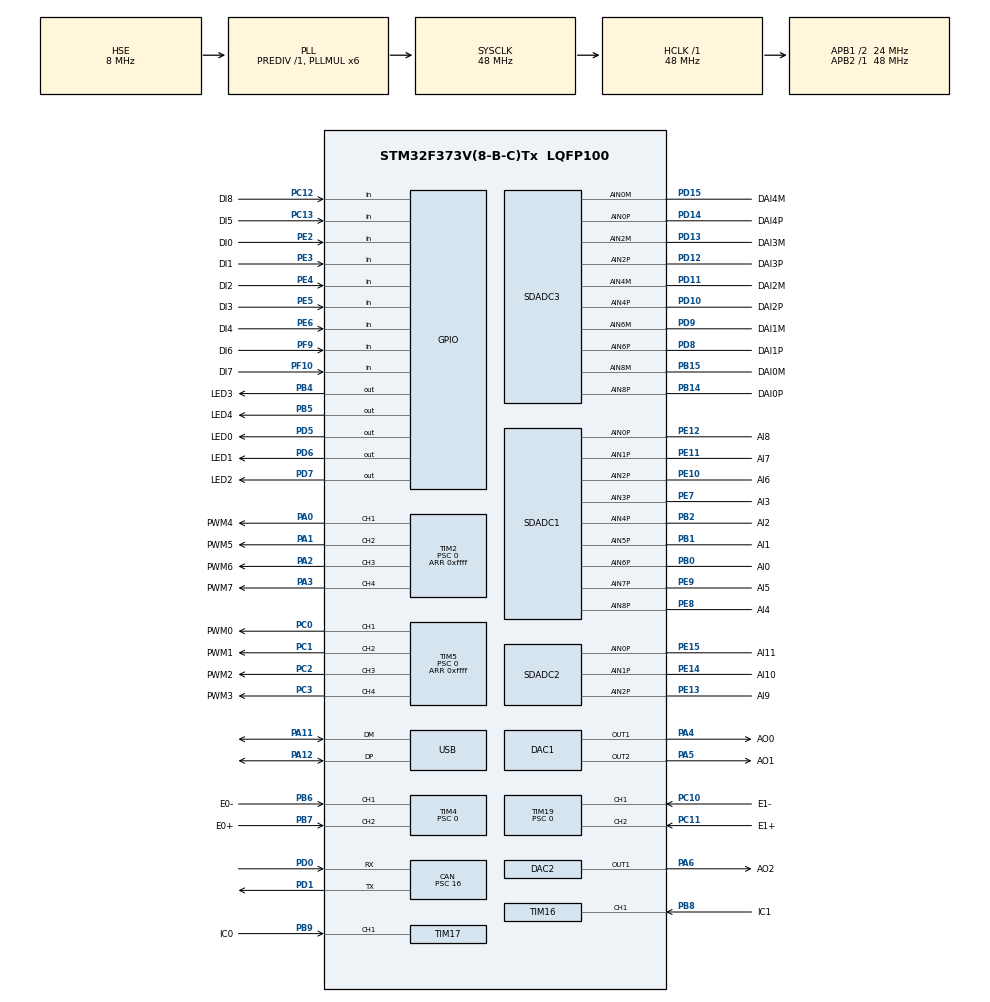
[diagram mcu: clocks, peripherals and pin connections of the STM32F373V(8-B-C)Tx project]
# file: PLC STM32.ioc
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CAN.BS1=CAN_BS1_3TQ
CAN.BS2=CAN_BS2_2TQ
CAN.CalculateBaudRate=250000
CAN.CalculateTimeBit=4000
CAN.CalculateTimeQuantum=666.6666666666666
CAN.Mode=CAN_MODE_NORMAL
CAN.Prescaler=16
CAN.SJW=CAN_SJW_1TQ
DAC1.DAC_OutputBuffer=DAC_OUTPUTBUFFER_ENABLE
DAC1.DAC_OutputBuffer2=DAC_OUTPUTBUFFER_ENABLE
DAC1.DAC_Trigger=DAC_TRIGGER_T6_TRGO
DAC1.DAC_Trigger2=DAC_TRIGGER_T6_TRGO
DAC2.DAC_OutputBuffer=DAC_OUTPUTBUFFER_ENABLE
DAC2.DAC_Trigger=DAC_TRIGGER_T6_TRGO
Dma.Request0=TIM17_CH1/UP
Dma.Request1=TIM16_CH1/UP
Dma.Request2=SDADC1
Dma.Request3=SDADC2
Dma.Request4=SDADC3
Dma.SDADC1.2.Direction=DMA_PERIPH_TO_MEMORY
Dma.SDADC1.2.Instance=DMA2_Channel3
Dma.SDADC1.2.MemDataAlignment=DMA_MDATAALIGN_HALFWORD
Dma.SDADC1.2.MemInc=DMA_MINC_ENABLE
Dma.SDADC1.2.Mode=DMA_CIRCULAR
Dma.SDADC1.2.PeriphDataAlignment=DMA_PDATAALIGN_HALFWORD
Dma.SDADC1.2.PeriphInc=DMA_PINC_DISABLE
Dma.SDADC1.2.Priority=DMA_PRIORITY_LOW
Dma.SDADC2.3.Direction=DMA_PERIPH_TO_MEMORY
Dma.SDADC2.3.Instance=DMA2_Channel4
Dma.SDADC2.3.MemDataAlignment=DMA_MDATAALIGN_HALFWORD
Dma.SDADC2.3.MemInc=DMA_MINC_ENABLE
Dma.SDADC2.3.Mode=DMA_CIRCULAR
Dma.SDADC2.3.PeriphDataAlignment=DMA_PDATAALIGN_HALFWORD
Dma.SDADC2.3.PeriphInc=DMA_PINC_DISABLE
Dma.SDADC2.3.Priority=DMA_PRIORITY_LOW
Dma.SDADC3.4.Direction=DMA_PERIPH_TO_MEMORY
Dma.SDADC3.4.Instance=DMA2_Channel5
Dma.SDADC3.4.MemDataAlignment=DMA_MDATAALIGN_HALFWORD
Dma.SDADC3.4.MemInc=DMA_MINC_ENABLE
Dma.SDADC3.4.Mode=DMA_CIRCULAR
Dma.SDADC3.4.PeriphDataAlignment=DMA_PDATAALIGN_HALFWORD
Dma.SDADC3.4.PeriphInc=DMA_PINC_DISABLE
Dma.SDADC3.4.Priority=DMA_PRIORITY_LOW
Dma.TIM16_CH1/UP.1.Direction=DMA_PERIPH_TO_MEMORY
Dma.TIM16_CH1/UP.1.Instance=DMA1_Channel3
Dma.TIM16_CH1/UP.1.MemDataAlignment=DMA_MDATAALIGN_HALFWORD
Dma.TIM16_CH1/UP.1.MemInc=DMA_MINC_ENABLE
Dma.TIM16_CH1/UP.1.Mode=DMA_CIRCULAR
Dma.TIM16_CH1/UP.1.PeriphDataAlignment=DMA_PDATAALIGN_HALFWORD
Dma.TIM16_CH1/UP.1.PeriphInc=DMA_PINC_DISABLE
Dma.TIM16_CH1/UP.1.Priority=DMA_PRIORITY_LOW
Dma.TIM17_CH1/UP.0.Direction=DMA_PERIPH_TO_MEMORY
Dma.TIM17_CH1/UP.0.Instance=DMA1_Channel1
Dma.TIM17_CH1/UP.0.MemDataAlignment=DMA_MDATAALIGN_HALFWORD
Dma.TIM17_CH1/UP.0.MemInc=DMA_MINC_ENABLE
Dma.TIM17_CH1/UP.0.Mode=DMA_CIRCULAR
Dma.TIM17_CH1/UP.0.PeriphDataAlignment=DMA_PDATAALIGN_HALFWORD
Dma.TIM17_CH1/UP.0.PeriphInc=DMA_PINC_DISABLE
Dma.TIM17_CH1/UP.0.Priority=DMA_PRIORITY_LOW
Mcu.Family=STM32F3
Mcu.Name=STM32F373V(8-B-C)Tx
Mcu.Package=LQFP100
NVIC.CAN_RX0_IRQn=true\:0\:0\:true\:false\:true\:true\:true\:true
NVIC.DMA1_Channel1_IRQn=true\:0\:0\:false\:false\:true\:false\:true\:true
NVIC.DMA1_Channel3_IRQn=true\:0\:0\:false\:false\:true\:false\:true\:true
NVIC.DMA2_Channel3_IRQn=true\:0\:0\:false\:false\:true\:false\:true\:true
NVIC.DMA2_Channel4_IRQn=true\:0\:0\:false\:false\:true\:false\:true\:true
NVIC.DMA2_Channel5_IRQn=true\:0\:0\:false\:false\:true\:false\:true\:true
NVIC.PriorityGroup=NVIC_PRIORITYGROUP_4
NVIC.TIM7_IRQn=true\:15\:0\:false\:false\:true\:false\:true\:true
NVIC.TimeBase=TIM7_IRQn
NVIC.TimeBaseIP=TIM7
NVIC.USB_LP_IRQn=true\:0\:0\:true\:false\:true\:false\:true\:true
PA0.GPIO_Label=PWM4
PA0.Signal=S_TIM2_CH1_ETR
PA1.GPIO_Label=PWM5
PA1.Signal=S_TIM2_CH2
PA11.Mode=Device
PA11.Signal=USB_DM
PA12.Mode=Device
PA12.Signal=USB_DP
PA13.Mode=Trace_Asynchronous_SW
PA13.Signal=SYS_JTMS-SWDIO
PA14.Mode=Trace_Asynchronous_SW
PA14.Signal=SYS_JTCK-SWCLK
PA2.GPIO_Label=PWM6
PA2.Signal=S_TIM2_CH3
PA3.GPIO_Label=PWM7
PA3.Signal=S_TIM2_CH4
PA4.GPIO_Label=AO0
PA4.Signal=COMP_DAC11_group
PA5.GPIO_Label=AO1
PA5.Signal=COMP_DAC12_group
PA6.GPIO_Label=AO2
PA6.Signal=COMP_DAC21_group
PB0.GPIO_Label=AI0
PB0.Mode=IN6-Single-Ended zero reference
PB0.Signal=SDADC1_AIN6P
PB1.GPIO_Label=AI1
PB1.Mode=IN5-Single-Ended zero reference
PB1.Signal=SDADC1_AIN5P
PB14.GPIO_Label=DAI0P
PB14.Mode=IN8-Differential
PB14.Signal=SDADC3_AIN8P
PB15.GPIO_Label=DAI0M
PB15.Mode=IN8-Differential
PB15.Signal=SDADC3_AIN8M
PB2.GPIO_Label=AI2
PB2.Mode=IN4-Single-Ended zero reference
PB2.Signal=SDADC1_AIN4P
PB3.Mode=Trace_Asynchronous_SW
PB3.Signal=SYS_JTDO-TRACESWO
PB4.GPIO_Label=LED3
PB4.Signal=GPIO_Output
PB5.GPIO_Label=LED4
PB5.Signal=GPIO_Output
PB6.GPIO_Label=E0-
PB6.Signal=S_TIM4_CH1
PB7.GPIO_Label=E0+
PB7.Signal=S_TIM4_CH2
PB8.GPIO_Label=IC1
PB8.Signal=S_TIM16_CH1
PB9.GPIO_Label=IC0
PB9.Signal=S_TIM17_CH1
PC0.GPIO_Label=PWM0
PC0.Signal=S_TIM5_CH1_ETR
PC1.GPIO_Label=PWM1
PC1.Signal=S_TIM5_CH2
PC10.GPIO_Label=E1-
PC10.Signal=S_TIM19_CH1
PC11.GPIO_Label=E1+
PC11.Signal=S_TIM19_CH2
PC12.GPIO_Label=DI8
PC12.GPIO_PuPd=GPIO_PULLDOWN
PC12.Signal=GPIO_Input
PC13.GPIO_Label=DI5
PC13.GPIO_PuPd=GPIO_PULLDOWN
PC13.Signal=GPIO_Input
PC2.GPIO_Label=PWM2
PC2.Signal=S_TIM5_CH3
PC3.GPIO_Label=PWM3
PC3.Signal=S_TIM5_CH4
PD0.Mode=CAN_Activate
PD0.Signal=CAN_RX
PD1.Mode=CAN_Activate
PD1.Signal=CAN_TX
PD10.GPIO_Label=DAI2P
PD10.Mode=IN4-Differential
PD10.Signal=SDADC3_AIN4P
PD11.GPIO_Label=DAI2M
PD11.Mode=IN4-Differential
PD11.Signal=SDADC3_AIN4M
PD12.GPIO_Label=DAI3P
PD12.Mode=IN2-Differential
PD12.Signal=SDADC3_AIN2P
PD13.GPIO_Label=DAI3M
PD13.Mode=IN2-Differential
PD13.Signal=SDADC3_AIN2M
PD14.GPIO_Label=DAI4P
PD14.Mode=IN0-Differential
PD14.Signal=SDADC3_AIN0P
PD15.GPIO_Label=DAI4M
PD15.Mode=IN0-Differential
PD15.Signal=SDADC3_AIN0M
PD5.GPIO_Label=LED0
PD5.Signal=GPIO_Output
PD6.GPIO_Label=LED1
PD6.Signal=GPIO_Output
PD7.GPIO_Label=LED2
PD7.Signal=GPIO_Output
PD8.GPIO_Label=DAI1P
PD8.Mode=IN6-Differential
PD8.Signal=SDADC3_AIN6P
PD9.GPIO_Label=DAI1M
PD9.Mode=IN6-Differential
PD9.Signal=SDADC3_AIN6M
PE10.GPIO_Label=AI6
PE10.Mode=IN2-Single-Ended zero reference
PE10.Signal=SDADC1_AIN2P
PE11.GPIO_Label=AI7
PE11.Mode=IN1-Single-Ended zero reference
PE11.Signal=SDADC1_AIN1P
PE12.GPIO_Label=AI8
PE12.Mode=IN0-Single-Ended zero reference
PE12.Signal=SDADC1_AIN0P
PE13.GPIO_Label=AI9
PE13.Mode=IN2-Single-Ended zero reference
PE13.Signal=SDADC2_AIN2P
PE14.GPIO_Label=AI10
PE14.Mode=IN1-Single-Ended zero reference
PE14.Signal=SDADC2_AIN1P
PE15.GPIO_Label=AI11
PE15.Mode=IN0-Single-Ended zero reference
PE15.Signal=SDADC2_AIN0P
PE2.GPIO_Label=DI0
PE2.GPIO_PuPd=GPIO_PULLDOWN
PE2.Signal=GPIO_Input
PE3.GPIO_Label=DI1
PE3.GPIO_PuPd=GPIO_PULLDOWN
PE3.Signal=GPIO_Input
PE4.GPIO_Label=DI2
PE4.GPIO_PuPd=GPIO_PULLDOWN
PE4.Signal=GPIO_Input
PE5.GPIO_Label=DI3
PE5.GPIO_PuPd=GPIO_PULLDOWN
PE5.Signal=GPIO_Input
PE6.GPIO_Label=DI4
PE6.GPIO_PuPd=GPIO_PULLDOWN
PE6.Signal=GPIO_Input
PE7.GPIO_Label=AI3
PE7.Mode=IN3-Single-Ended zero reference
PE7.Signal=SDADC1_AIN3P
PE8.GPIO_Label=AI4
PE8.Mode=IN8-Single-Ended zero reference
PE8.Signal=SDADC1_AIN8P
PE9.GPIO_Label=AI5
PE9.Mode=IN7-Single-Ended zero reference
PE9.Signal=SDADC1_AIN7P
PF0-OSC_IN.Mode=HSE-External-Oscillator
PF0-OSC_IN.Signal=RCC_OSC_IN
PF1-OSC_OUT.Mode=HSE-External-Oscillator
PF1-OSC_OUT.Signal=RCC_OSC_OUT
PF10.GPIO_Label=DI7
PF10.GPIO_PuPd=GPIO_PULLDOWN
PF10.Signal=GPIO_Input
PF9.GPIO_Label=DI6
PF9.GPIO_PuPd=GPIO_PULLDOWN
PF9.Signal=GPIO_Input
ProjectManager.HeapSize=0x200
ProjectManager.StackSize=0x400
ProjectManager.TargetToolchain=STM32CubeIDE
RCC.AHBFreq_Value=48000000
RCC.APB1CLKDivider=RCC_HCLK_DIV2
RCC.APB1Freq_Value=24000000
RCC.APB1TimFreq_Value=48000000
RCC.APB2Freq_Value=48000000
RCC.APB2TimFreq_Value=48000000
RCC.CortexFreq_Value=48000000
RCC.HCLKFreq_Value=48000000
RCC.HSE_Timout=100
RCC.HSE_VALUE=8000000
RCC.HSI_VALUE=8000000
RCC.LSE_Timout=10000
RCC.LSE_VALUE=32768
RCC.PLLMUL=RCC_PLL_MUL6
RCC.SDADCPresc=RCC_SDADCSYSCLK_DIV8
RCC.SYSCLKFreq_VALUE=48000000
RCC.SYSCLKSource=RCC_SYSCLKSOURCE_PLLCLK
RCC.USBFreq_Value=48000000
SDADC1.CommonMode0=SDADC_COMMON_MODE_VSSA
SDADC1.EnableInjectedConversion=ENABLE
SDADC1.EnableRegularconversion=DISABLE
SDADC1.Gain1=SDADC_GAIN_1
SDADC1.Gain2=SDADC_GAIN_1
SDADC1.InjDelay=Disable
SDADC1.InjNumberOfConversion=9
SDADC1.InjectedChannel-11\#ChannelInjectedConversion=SDADC_CHANNEL_0
SDADC1.InjectedChannel-20\#ChannelInjectedConversion=SDADC_CHANNEL_1
SDADC1.InjectedChannel-21\#ChannelInjectedConversion=SDADC_CHANNEL_2
SDADC1.InjectedChannel-22\#ChannelInjectedConversion=SDADC_CHANNEL_3
SDADC1.InjectedChannel-23\#ChannelInjectedConversion=SDADC_CHANNEL_4
SDADC1.InjectedChannel-24\#ChannelInjectedConversion=SDADC_CHANNEL_5
SDADC1.InjectedChannel-25\#ChannelInjectedConversion=SDADC_CHANNEL_6
SDADC1.InjectedChannel-26\#ChannelInjectedConversion=SDADC_CHANNEL_7
SDADC1.InjectedChannel-27\#ChannelInjectedConversion=SDADC_CHANNEL_8
SDADC1.InjectedChannelsSelection=SDADC_CHANNEL_0|SDADC_CHANNEL_1|SDADC_CHANNEL_2|SDADC_CHANNEL_3|SDADC_CHANNEL_4|SDADC_CHANNEL_5|SDADC_CHANNEL_6|SDADC_CHANNEL_7|SDADC_CHANNEL_8
SDADC1.InjectedConfIndex-11\#ChannelInjectedConversion=SDADC_CONF_INDEX_2
SDADC1.InjectedConfIndex-20\#ChannelInjectedConversion=SDADC_CONF_INDEX_2
SDADC1.InjectedConfIndex-21\#ChannelInjectedConversion=SDADC_CONF_INDEX_2
SDADC1.InjectedConfIndex-22\#ChannelInjectedConversion=SDADC_CONF_INDEX_1
SDADC1.InjectedConfIndex-23\#ChannelInjectedConversion=SDADC_CONF_INDEX_0
SDADC1.InjectedConfIndex-24\#ChannelInjectedConversion=SDADC_CONF_INDEX_0
SDADC1.InjectedConfIndex-25\#ChannelInjectedConversion=SDADC_CONF_INDEX_0
SDADC1.InjectedConfIndex-26\#ChannelInjectedConversion=SDADC_CONF_INDEX_1
SDADC1.InjectedConfIndex-27\#ChannelInjectedConversion=SDADC_CONF_INDEX_1
SDADC1.InjectedContinuousMode=SDADC_CONTINUOUS_CONV_ON
SDADC1.InjectedRank-11\#ChannelInjectedConversion=1
SDADC1.InjectedRank-20\#ChannelInjectedConversion=2
SDADC1.InjectedRank-21\#ChannelInjectedConversion=3
SDADC1.InjectedRank-22\#ChannelInjectedConversion=4
SDADC1.InjectedRank-23\#ChannelInjectedConversion=5
SDADC1.InjectedRank-24\#ChannelInjectedConversion=6
SDADC1.InjectedRank-25\#ChannelInjectedConversion=7
SDADC1.InjectedRank-26\#ChannelInjectedConversion=8
SDADC1.InjectedRank-27\#ChannelInjectedConversion=9
SDADC1.InjectedTrigger=SDADC_EXTERNAL_TRIGGER
SDADC1.InputMode0=SDADC_INPUT_MODE_SE_ZERO_REFERENCE
SDADC1.InputMode1=SDADC_INPUT_MODE_SE_ZERO_REFERENCE
SDADC1.InputMode2=SDADC_INPUT_MODE_SE_ZERO_REFERENCE
SDADC1.NbrOfConversionFlag=1
SDADC2.EnableInjectedConversion=ENABLE
SDADC2.EnableRegularconversion=DISABLE
SDADC2.InjDelay=Disable
SDADC2.InjNumberOfConversion=3
SDADC2.InjectedChannel-0\#ChannelInjectedConversion=SDADC_CHANNEL_0
SDADC2.InjectedChannel-3\#ChannelInjectedConversion=SDADC_CHANNEL_1
SDADC2.InjectedChannel-4\#ChannelInjectedConversion=SDADC_CHANNEL_2
SDADC2.InjectedChannelsSelection=SDADC_CHANNEL_0|SDADC_CHANNEL_1|SDADC_CHANNEL_2
SDADC2.InjectedConfIndex-0\#ChannelInjectedConversion=SDADC_CONF_INDEX_2
SDADC2.InjectedConfIndex-3\#ChannelInjectedConversion=SDADC_CONF_INDEX_1
SDADC2.InjectedConfIndex-4\#ChannelInjectedConversion=SDADC_CONF_INDEX_0
SDADC2.InjectedContinuousMode=SDADC_CONTINUOUS_CONV_ON
SDADC2.InjectedExtTrigger=SDADC_EXT_TRIG_TIM12_CC1
SDADC2.InjectedRank-0\#ChannelInjectedConversion=1
SDADC2.InjectedRank-3\#ChannelInjectedConversion=2
SDADC2.InjectedRank-4\#ChannelInjectedConversion=3
SDADC2.InjectedTrigger=SDADC_EXTERNAL_TRIGGER
SDADC2.InputMode0=SDADC_INPUT_MODE_SE_ZERO_REFERENCE
SDADC2.InputMode1=SDADC_INPUT_MODE_SE_ZERO_REFERENCE
SDADC2.InputMode2=SDADC_INPUT_MODE_SE_ZERO_REFERENCE
SDADC2.NbrOfConversionFlag=1
SDADC3.EnableInjectedConversion=ENABLE
SDADC3.EnableRegularconversion=DISABLE
SDADC3.InjDelay=Disable
SDADC3.InjNumberOfConversion=5
SDADC3.InjectedChannel-0\#ChannelInjectedConversion=SDADC_CHANNEL_0
SDADC3.InjectedChannel-5\#ChannelInjectedConversion=SDADC_CHANNEL_2
SDADC3.InjectedChannel-6\#ChannelInjectedConversion=SDADC_CHANNEL_4
SDADC3.InjectedChannel-7\#ChannelInjectedConversion=SDADC_CHANNEL_6
SDADC3.InjectedChannel-8\#ChannelInjectedConversion=SDADC_CHANNEL_8
SDADC3.InjectedChannelsSelection=SDADC_CHANNEL_0|SDADC_CHANNEL_2|SDADC_CHANNEL_4|SDADC_CHANNEL_6|SDADC_CHANNEL_8
SDADC3.InjectedConfIndex-0\#ChannelInjectedConversion=SDADC_CONF_INDEX_2
SDADC3.InjectedConfIndex-5\#ChannelInjectedConversion=SDADC_CONF_INDEX_1
SDADC3.InjectedConfIndex-6\#ChannelInjectedConversion=SDADC_CONF_INDEX_1
SDADC3.InjectedConfIndex-7\#ChannelInjectedConversion=SDADC_CONF_INDEX_0
SDADC3.InjectedConfIndex-8\#ChannelInjectedConversion=SDADC_CONF_INDEX_0
SDADC3.InjectedContinuousMode=SDADC_CONTINUOUS_CONV_ON
SDADC3.InjectedExtTrigger=SDADC_EXT_TRIG_TIM12_CC2
SDADC3.InjectedRank-0\#ChannelInjectedConversion=1
SDADC3.InjectedRank-5\#ChannelInjectedConversion=2
SDADC3.InjectedRank-6\#ChannelInjectedConversion=3
SDADC3.InjectedRank-7\#ChannelInjectedConversion=4
SDADC3.InjectedRank-8\#ChannelInjectedConversion=5
SDADC3.InjectedTrigger=SDADC_EXTERNAL_TRIGGER
SDADC3.NbrOfConversionFlag=1
SH.COMP_DAC11_group.0=DAC1_OUT1,DAC_OUT1
SH.COMP_DAC12_group.0=DAC1_OUT2,Enable_DAC_OUT2
SH.COMP_DAC21_group.0=DAC2_OUT1,DAC_OUT1
SH.S_TIM16_CH1.0=TIM16_CH1,Input_Capture1_from_TI1
SH.S_TIM17_CH1.0=TIM17_CH1,Input_Capture1_from_TI1
SH.S_TIM19_CH1.0=TIM19_CH1,Encoder_Interface
SH.S_TIM19_CH2.0=TIM19_CH2,Encoder_Interface
SH.S_TIM2_CH1_ETR.0=TIM2_CH1,PWM Generation1 CH1
SH.S_TIM2_CH2.0=TIM2_CH2,PWM Generation2 CH2
SH.S_TIM2_CH3.0=TIM2_CH3,PWM Generation3 CH3
SH.S_TIM2_CH4.0=TIM2_CH4,PWM Generation4 CH4
SH.S_TIM4_CH1.0=TIM4_CH1,Encoder_Interface
SH.S_TIM4_CH2.0=TIM4_CH2,Encoder_Interface
SH.S_TIM5_CH1_ETR.0=TIM5_CH1,PWM Generation1 CH1
SH.S_TIM5_CH2.0=TIM5_CH2,PWM Generation2 CH2
SH.S_TIM5_CH3.0=TIM5_CH3,PWM Generation3 CH3
SH.S_TIM5_CH4.0=TIM5_CH4,PWM Generation4 CH4
TIM12.Channel-Output\ Compare1\ No\ Output=TIM_CHANNEL_1
TIM12.Channel-Output\ Compare2\ No\ Output=TIM_CHANNEL_2
TIM12.OCMode_1=TIM_OCMODE_TOGGLE
TIM12.OCMode_2=TIM_OCMODE_TOGGLE
TIM12.Period=0xbb80
TIM12.Prescaler=99
TIM12.Pulse-Output\ Compare1\ No\ Output=0
TIM13.Channel=TIM_CHANNEL_1
TIM13.OCMode_1=TIM_OCMODE_TOGGLE
TIM13.Period=0xbb80
TIM13.Prescaler=99
TIM13.Pulse=0
TIM16.Channel=TIM_CHANNEL_1
TIM16.Period=0xffff
TIM16.Prescaler=4799
TIM17.Channel=TIM_CHANNEL_1
TIM17.Period=0xffff
TIM17.Prescaler=4799
TIM19.EncoderMode=TIM_ENCODERMODE_TI12
TIM19.Prescaler=0
TIM2.Channel-PWM\ Generation1\ CH1=TIM_CHANNEL_1
TIM2.Channel-PWM\ Generation2\ CH2=TIM_CHANNEL_2
TIM2.Channel-PWM\ Generation3\ CH3=TIM_CHANNEL_3
TIM2.Channel-PWM\ Generation4\ CH4=TIM_CHANNEL_4
TIM2.Period=0xffff
TIM2.Prescaler=0
TIM2.Pulse-PWM\ Generation4\ CH4=0
TIM4.EncoderMode=TIM_ENCODERMODE_TI12
TIM4.Prescaler=0
TIM5.Channel-PWM\ Generation1\ CH1=TIM_CHANNEL_1
TIM5.Channel-PWM\ Generation2\ CH2=TIM_CHANNEL_2
TIM5.Channel-PWM\ Generation3\ CH3=TIM_CHANNEL_3
TIM5.Channel-PWM\ Generation4\ CH4=TIM_CHANNEL_4
TIM5.Period=0xffff
TIM5.Prescaler=0
TIM5.Pulse-PWM\ Generation4\ CH4=0
TIM6.Period=0xbb80
TIM6.Prescaler=99
TIM6.TIM_MasterOutputTrigger=TIM_TRGO_UPDATE
USB_DEVICE.APP_RX_DATA_SIZE=1000
USB_DEVICE.APP_TX_DATA_SIZE=1000
USB_DEVICE.CLASS_NAME_FS=CDC
USB_DEVICE.PRODUCT_STRING_CDC_FS=STM32 Virtual ComPort
USB_DEVICE.USBD_SELF_POWERED=0
USB_DEVICE.VirtualMode=Cdc
USB_DEVICE.VirtualModeFS=Cdc_FS
VP_SDADC1_CONF0.Mode=ConfigZero
VP_SDADC1_CONF1.Mode=ConfigUn
VP_SDADC1_CONF2.Mode=ConfigDeux
VP_SDADC2_CONF0.Mode=ConfigZero
VP_SDADC2_CONF1.Mode=ConfigUn
VP_SDADC2_CONF2.Mode=ConfigDeux
VP_SDADC3_CONF0.Mode=ConfigZero
VP_SDADC3_CONF1.Mode=ConfigUn
VP_SDADC3_CONF2.Mode=ConfigDeux
VP_SYS_VS_tim7.Mode=TIM7
VP_TIM12_VS_ClockSourceINT.Mode=Internal
VP_TIM12_VS_no_output1.Mode=Output Compare1 No Output
VP_TIM12_VS_no_output2.Mode=Output Compare2 No Output
VP_TIM13_VS_ClockSourceINT.Mode=Enable_Timer
VP_TIM13_VS_no_output1.Mode=Output Compare1 No Output
VP_TIM16_VS_ClockSourceINT.Mode=Enable_Timer
VP_TIM17_VS_ClockSourceINT.Mode=Enable_Timer
VP_TIM2_VS_ClockSourceINT.Mode=Internal
VP_TIM5_VS_ClockSourceINT.Mode=Internal
VP_TIM6_VS_ClockSourceINT.Mode=Enable_Timer
VP_USB_DEVICE_VS_USB_DEVICE_CDC_FS.Mode=CDC_FS
board=custom

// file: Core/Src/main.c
/* USER CODE BEGIN Header */
/**
  ******************************************************************************
  * @file           : main.c
  * @brief          : Main program body
  ******************************************************************************
  * @attention
  *
  * <h2><center>&copy; Copyright (c) 2021 STMicroelectronics.
  * All rights reserved.</center></h2>
  *
  * This software component is licensed by ST under BSD 3-Clause license,
  * the "License"; You may not use this file except in compliance with the
  * License. You may obtain a copy of the License at:
  *                        opensource.org/licenses/BSD-3-Clause
  *
  ******************************************************************************
  */
/* USER CODE END Header */
#include "main.h"
#include "usb_device.h"

/* USER CODE BEGIN Includes */
#include "STM32 PLC/Functions.h"
/* USER CODE END Includes */

 CAN_HandleTypeDef hcan;

DAC_HandleTypeDef hdac1;
DAC_HandleTypeDef hdac2;

SDADC_HandleTypeDef hsdadc1;
SDADC_HandleTypeDef hsdadc2;
SDADC_HandleTypeDef hsdadc3;
DMA_HandleTypeDef hdma_sdadc1;
DMA_HandleTypeDef hdma_sdadc2;
DMA_HandleTypeDef hdma_sdadc3;

TIM_HandleTypeDef htim2;
TIM_HandleTypeDef htim4;
TIM_HandleTypeDef htim5;
TIM_HandleTypeDef htim6;
TIM_HandleTypeDef htim12;
TIM_HandleTypeDef htim13;
TIM_HandleTypeDef htim16;
TIM_HandleTypeDef htim17;
TIM_HandleTypeDef htim19;
DMA_HandleTypeDef hdma_tim16_ch1_up;
DMA_HandleTypeDef hdma_tim17_ch1_up;

void SystemClock_Config(void);
static void MX_GPIO_Init(void);
static void MX_DAC1_Init(void);
static void MX_DAC2_Init(void);
static void MX_TIM2_Init(void);
static void MX_TIM5_Init(void);
static void MX_TIM4_Init(void);
static void MX_SDADC1_Init(void);
static void MX_SDADC2_Init(void);
static void MX_SDADC3_Init(void);
static void MX_CAN_Init(void);
static void MX_TIM6_Init(void);
static void MX_TIM12_Init(void);
static void MX_TIM13_Init(void);
static void MX_TIM16_Init(void);
static void MX_TIM17_Init(void);
static void MX_DMA_Init(void);
static void MX_TIM19_Init(void);

int main(void)
{

  /* MCU Configuration--------------------------------------------------------*/

  /* Reset of all peripherals, Initializes the Flash interface and the Systick. */
  HAL_Init();

  /* Configure the system clock */
  SystemClock_Config();

  /* Initialize all configured peripherals */
  MX_GPIO_Init();
  MX_DMA_Init();
  MX_DAC1_Init();
  MX_DAC2_Init();
  MX_TIM2_Init();
  MX_TIM5_Init();
  MX_TIM4_Init();
  MX_SDADC1_Init();
  MX_SDADC2_Init();
  MX_SDADC3_Init();
  MX_CAN_Init();
  MX_TIM6_Init();
  MX_TIM12_Init();
  MX_TIM13_Init();
  MX_TIM16_Init();
  MX_USB_DEVICE_Init();
  MX_TIM17_Init();
  MX_TIM19_Init();
  /* USER CODE BEGIN 2 */

  /* NOTICE !!!  - MX_DMA_Init() need to be declared directly after MX_GPIO_Init() */

  /* Start */
  STM32_PLC_Analog_Input(&htim12, &htim13, &hsdadc1, &hsdadc2, &hsdadc3);
  STM32_PLC_Analog_Output(&hdac1, &hdac2, &htim6);
  STM32_PLC_Encoder(&htim4, &htim19);
  STM32_PLC_Input_Capture(&htim17, &htim16);
  STM32_PLC_PWM(&htim2, &htim5);
  STM32_PLC_CAN(&hcan);

  /* Reset outputs */
  STM32_PLC_PWM_Reset();
  STM32_PLC_Analog_Output_Reset();

  /* Set the gains for the ADC */
  uint8_t gain_for_configuration_index_0, gain_for_configuration_index_1, gain_for_configuration_index_2;
  STM32_PLC_Flash_Get_ADC_Gains_For_SDADC_1(&gain_for_configuration_index_0, &gain_for_configuration_index_1, &gain_for_configuration_index_2);
  STM32_PLC_Analog_Input_Set_Gain(1, SDADC_CONF_INDEX_0, gain_for_configuration_index_0, false);
  STM32_PLC_Analog_Input_Set_Gain(2, SDADC_CONF_INDEX_1, gain_for_configuration_index_1, false);
  STM32_PLC_Analog_Input_Set_Gain(3, SDADC_CONF_INDEX_2, gain_for_configuration_index_2, false);

  /* Set the prescalers for PWM */
  uint16_t prescaler_for_PWM_0_3, prescaler_for_PWM_4_7;
  STM32_PLC_Flash_Get_PWM_Prescalers(&prescaler_for_PWM_0_3, &prescaler_for_PWM_4_7);
  STM32_PLC_PWM0_To_PWM3_Set_Prescaler(prescaler_for_PWM_0_3, false);
  STM32_PLC_PWM0_To_PWM3_Set_Prescaler(prescaler_for_PWM_4_7, false);

  /* Do a funny move with the LED's */
  for(uint8_t i = 0; i < 0x1F; i++){
	  STM32_PLC_LED(i);
	  HAL_Delay(50);
  }
  STM32_PLC_LED(0);

  /* USER CODE END 2 */

  /* Infinite loop */
  while (1)
  {

  }
}

void SystemClock_Config(void)
{
  RCC_OscInitTypeDef RCC_OscInitStruct = {0};
  RCC_ClkInitTypeDef RCC_ClkInitStruct = {0};
  RCC_PeriphCLKInitTypeDef PeriphClkInit = {0};

  /** Initializes the RCC Oscillators according to the specified parameters
  * in the RCC_OscInitTypeDef structure.
  */
  RCC_OscInitStruct.OscillatorType = RCC_OSCILLATORTYPE_HSE;
  RCC_OscInitStruct.HSEState = RCC_HSE_ON;
  RCC_OscInitStruct.HSEPredivValue = RCC_HSE_PREDIV_DIV1;
  RCC_OscInitStruct.HSIState = RCC_HSI_ON;
  RCC_OscInitStruct.PLL.PLLState = RCC_PLL_ON;
  RCC_OscInitStruct.PLL.PLLSource = RCC_PLLSOURCE_HSE;
  RCC_OscInitStruct.PLL.PLLMUL = RCC_PLL_MUL6;
  if (HAL_RCC_OscConfig(&RCC_OscInitStruct) != HAL_OK)
  {
    Error_Handler();
  }

  /** Initializes the CPU, AHB and APB buses clocks
  */
  RCC_ClkInitStruct.ClockType = RCC_CLOCKTYPE_HCLK|RCC_CLOCKTYPE_SYSCLK
                              |RCC_CLOCKTYPE_PCLK1|RCC_CLOCKTYPE_PCLK2;
  RCC_ClkInitStruct.SYSCLKSource = RCC_SYSCLKSOURCE_PLLCLK;
  RCC_ClkInitStruct.AHBCLKDivider = RCC_SYSCLK_DIV1;
  RCC_ClkInitStruct.APB1CLKDivider = RCC_HCLK_DIV2;
  RCC_ClkInitStruct.APB2CLKDivider = RCC_HCLK_DIV1;

  if (HAL_RCC_ClockConfig(&RCC_ClkInitStruct, FLASH_LATENCY_1) != HAL_OK)
  {
    Error_Handler();
  }
  PeriphClkInit.PeriphClockSelection = RCC_PERIPHCLK_USB|RCC_PERIPHCLK_SDADC;
  PeriphClkInit.USBClockSelection = RCC_USBCLKSOURCE_PLL;
  PeriphClkInit.SdadcClockSelection = RCC_SDADCSYSCLK_DIV8;
  if (HAL_RCCEx_PeriphCLKConfig(&PeriphClkInit) != HAL_OK)
  {
    Error_Handler();
  }
  HAL_PWREx_EnableSDADC(PWR_SDADC_ANALOG1);
  HAL_PWREx_EnableSDADC(PWR_SDADC_ANALOG2);
  HAL_PWREx_EnableSDADC(PWR_SDADC_ANALOG3);
}

static void MX_CAN_Init(void)
{

  hcan.Instance = CAN;
  hcan.Init.Prescaler = 16;
  hcan.Init.Mode = CAN_MODE_NORMAL;
  hcan.Init.SyncJumpWidth = CAN_SJW_1TQ;
  hcan.Init.TimeSeg1 = CAN_BS1_3TQ;
  hcan.Init.TimeSeg2 = CAN_BS2_2TQ;
  hcan.Init.TimeTriggeredMode = DISABLE;
  hcan.Init.AutoBusOff = DISABLE;
  hcan.Init.AutoWakeUp = DISABLE;
  hcan.Init.AutoRetransmission = DISABLE;
  hcan.Init.ReceiveFifoLocked = DISABLE;
  hcan.Init.TransmitFifoPriority = DISABLE;
  if (HAL_CAN_Init(&hcan) != HAL_OK)
  {
    Error_Handler();
  }

}

static void MX_DAC1_Init(void)
{

  DAC_ChannelConfTypeDef sConfig = {0};

  /** DAC Initialization
  */
  hdac1.Instance = DAC1;
  if (HAL_DAC_Init(&hdac1) != HAL_OK)
  {
    Error_Handler();
  }

  /** DAC channel OUT1 config
  */
  sConfig.DAC_Trigger = DAC_TRIGGER_T6_TRGO;
  sConfig.DAC_OutputBuffer = DAC_OUTPUTBUFFER_ENABLE;
  if (HAL_DAC_ConfigChannel(&hdac1, &sConfig, DAC_CHANNEL_1) != HAL_OK)
  {
    Error_Handler();
  }

  /** DAC channel OUT2 config
  */
  if (HAL_DAC_ConfigChannel(&hdac1, &sConfig, DAC_CHANNEL_2) != HAL_OK)
  {
    Error_Handler();
  }

}

static void MX_DAC2_Init(void)
{

  DAC_ChannelConfTypeDef sConfig = {0};

  /** DAC Initialization
  */
  hdac2.Instance = DAC2;
  if (HAL_DAC_Init(&hdac2) != HAL_OK)
  {
    Error_Handler();
  }

  /** DAC channel OUT1 config
  */
  sConfig.DAC_Trigger = DAC_TRIGGER_T6_TRGO;
  sConfig.DAC_OutputBuffer = DAC_OUTPUTBUFFER_ENABLE;
  if (HAL_DAC_ConfigChannel(&hdac2, &sConfig, DAC_CHANNEL_1) != HAL_OK)
  {
    Error_Handler();
  }

}

static void MX_SDADC1_Init(void)
{

  SDADC_ConfParamTypeDef ConfParamStruct = {0};

  /** Configure the SDADC low power mode, fast conversion mode,
  slow clock mode and SDADC1 reference voltage
  */
  hsdadc1.Instance = SDADC1;
  hsdadc1.Init.IdleLowPowerMode = SDADC_LOWPOWER_NONE;
  hsdadc1.Init.FastConversionMode = SDADC_FAST_CONV_DISABLE;
  hsdadc1.Init.SlowClockMode = SDADC_SLOW_CLOCK_DISABLE;
  hsdadc1.Init.ReferenceVoltage = SDADC_VREF_EXT;
  hsdadc1.InjectedTrigger = SDADC_EXTERNAL_TRIGGER;
  hsdadc1.ExtTriggerEdge = SDADC_EXT_TRIG_RISING_EDGE;
  if (HAL_SDADC_Init(&hsdadc1) != HAL_OK)
  {
    Error_Handler();
  }

  /** Configure the Injected Mode
  */
  if (HAL_SDADC_SelectInjectedDelay(&hsdadc1, SDADC_INJECTED_DELAY_NONE) != HAL_OK)
  {
    Error_Handler();
  }
  if (HAL_SDADC_SelectInjectedExtTrigger(&hsdadc1, SDADC_EXT_TRIG_TIM13_CC1, SDADC_EXT_TRIG_RISING_EDGE) != HAL_OK)
  {
    Error_Handler();
  }
  if (HAL_SDADC_SelectInjectedTrigger(&hsdadc1, SDADC_EXTERNAL_TRIGGER) != HAL_OK)
  {
    Error_Handler();
  }
  if (HAL_SDADC_InjectedConfigChannel(&hsdadc1, SDADC_CHANNEL_0|SDADC_CHANNEL_1
                              |SDADC_CHANNEL_2|SDADC_CHANNEL_3
                              |SDADC_CHANNEL_4|SDADC_CHANNEL_5
                              |SDADC_CHANNEL_6|SDADC_CHANNEL_7
                              |SDADC_CHANNEL_8, SDADC_CONTINUOUS_CONV_ON) != HAL_OK)
  {
    Error_Handler();
  }

  /** Set parameters for SDADC configuration 0 Register
  */
  ConfParamStruct.InputMode = SDADC_INPUT_MODE_SE_ZERO_REFERENCE;
  ConfParamStruct.Gain = SDADC_GAIN_1;
  ConfParamStruct.CommonMode = SDADC_COMMON_MODE_VSSA;
  ConfParamStruct.Offset = 0;
  if (HAL_SDADC_PrepareChannelConfig(&hsdadc1, SDADC_CONF_INDEX_0, &ConfParamStruct) != HAL_OK)
  {
    Error_Handler();
  }

  /** Set parameters for SDADC configuration 1 Register
  */
  if (HAL_SDADC_PrepareChannelConfig(&hsdadc1, SDADC_CONF_INDEX_1, &ConfParamStruct) != HAL_OK)
  {
    Error_Handler();
  }

  /** Set parameters for SDADC configuration 2 Register
  */
  if (HAL_SDADC_PrepareChannelConfig(&hsdadc1, SDADC_CONF_INDEX_2, &ConfParamStruct) != HAL_OK)
  {
    Error_Handler();
  }

  /** Configure the Injected Channel
  */
  if (HAL_SDADC_AssociateChannelConfig(&hsdadc1, SDADC_CHANNEL_0, SDADC_CONF_INDEX_2) != HAL_OK)
  {
    Error_Handler();
  }

  /** Configure the Injected Channel
  */
  if (HAL_SDADC_AssociateChannelConfig(&hsdadc1, SDADC_CHANNEL_1, SDADC_CONF_INDEX_2) != HAL_OK)
  {
    Error_Handler();
  }

  /** Configure the Injected Channel
  */
  if (HAL_SDADC_AssociateChannelConfig(&hsdadc1, SDADC_CHANNEL_2, SDADC_CONF_INDEX_2) != HAL_OK)
  {
    Error_Handler();
  }

  /** Configure the Injected Channel
  */
  if (HAL_SDADC_AssociateChannelConfig(&hsdadc1, SDADC_CHANNEL_3, SDADC_CONF_INDEX_1) != HAL_OK)
  {
    Error_Handler();
  }

  /** Configure the Injected Channel
  */
  if (HAL_SDADC_AssociateChannelConfig(&hsdadc1, SDADC_CHANNEL_4, SDADC_CONF_INDEX_0) != HAL_OK)
  {
    Error_Handler();
  }

  /** Configure the Injected Channel
  */
  if (HAL_SDADC_AssociateChannelConfig(&hsdadc1, SDADC_CHANNEL_5, SDADC_CONF_INDEX_0) != HAL_OK)
  {
    Error_Handler();
  }

  /** Configure the Injected Channel
  */
  if (HAL_SDADC_AssociateChannelConfig(&hsdadc1, SDADC_CHANNEL_6, SDADC_CONF_INDEX_0) != HAL_OK)
  {
    Error_Handler();
  }

  /** Configure the Injected Channel
  */
  if (HAL_SDADC_AssociateChannelConfig(&hsdadc1, SDADC_CHANNEL_7, SDADC_CONF_INDEX_1) != HAL_OK)
  {
    Error_Handler();
  }

  /** Configure the Injected Channel
  */
  if (HAL_SDADC_AssociateChannelConfig(&hsdadc1, SDADC_CHANNEL_8, SDADC_CONF_INDEX_1) != HAL_OK)
  {
    Error_Handler();
  }

}

static void MX_SDADC2_Init(void)
{

  SDADC_ConfParamTypeDef ConfParamStruct = {0};

  /** Configure the SDADC low power mode, fast conversion mode,
  slow clock mode and SDADC1 reference voltage
  */
  hsdadc2.Instance = SDADC2;
  hsdadc2.Init.IdleLowPowerMode = SDADC_LOWPOWER_NONE;
  hsdadc2.Init.FastConversionMode = SDADC_FAST_CONV_DISABLE;
  hsdadc2.Init.SlowClockMode = SDADC_SLOW_CLOCK_DISABLE;
  hsdadc2.Init.ReferenceVoltage = SDADC_VREF_EXT;
  hsdadc2.InjectedTrigger = SDADC_EXTERNAL_TRIGGER;
  hsdadc2.ExtTriggerEdge = SDADC_EXT_TRIG_RISING_EDGE;
  if (HAL_SDADC_Init(&hsdadc2) != HAL_OK)
  {
    Error_Handler();
  }

  /** Configure the Injected Mode
  */
  if (HAL_SDADC_SelectInjectedDelay(&hsdadc2, SDADC_INJECTED_DELAY_NONE) != HAL_OK)
  {
    Error_Handler();
  }
  if (HAL_SDADC_SelectInjectedExtTrigger(&hsdadc2, SDADC_EXT_TRIG_TIM12_CC1, SDADC_EXT_TRIG_RISING_EDGE) != HAL_OK)
  {
    Error_Handler();
  }
  if (HAL_SDADC_SelectInjectedTrigger(&hsdadc2, SDADC_EXTERNAL_TRIGGER) != HAL_OK)
  {
    Error_Handler();
  }
  if (HAL_SDADC_InjectedConfigChannel(&hsdadc2, SDADC_CHANNEL_0|SDADC_CHANNEL_1
                              |SDADC_CHANNEL_2, SDADC_CONTINUOUS_CONV_ON) != HAL_OK)
  {
    Error_Handler();
  }

  /** Set parameters for SDADC configuration 0 Register
  */
  ConfParamStruct.InputMode = SDADC_INPUT_MODE_SE_ZERO_REFERENCE;
  ConfParamStruct.Gain = SDADC_GAIN_1;
  ConfParamStruct.CommonMode = SDADC_COMMON_MODE_VSSA;
  ConfParamStruct.Offset = 0;
  if (HAL_SDADC_PrepareChannelConfig(&hsdadc2, SDADC_CONF_INDEX_0, &ConfParamStruct) != HAL_OK)
  {
    Error_Handler();
  }

  /** Set parameters for SDADC configuration 1 Register
  */
  if (HAL_SDADC_PrepareChannelConfig(&hsdadc2, SDADC_CONF_INDEX_1, &ConfParamStruct) != HAL_OK)
  {
    Error_Handler();
  }

  /** Set parameters for SDADC configuration 2 Register
  */
  if (HAL_SDADC_PrepareChannelConfig(&hsdadc2, SDADC_CONF_INDEX_2, &ConfParamStruct) != HAL_OK)
  {
    Error_Handler();
  }

  /** Configure the Injected Channel
  */
  if (HAL_SDADC_AssociateChannelConfig(&hsdadc2, SDADC_CHANNEL_0, SDADC_CONF_INDEX_2) != HAL_OK)
  {
    Error_Handler();
  }

  /** Configure the Injected Channel
  */
  if (HAL_SDADC_AssociateChannelConfig(&hsdadc2, SDADC_CHANNEL_1, SDADC_CONF_INDEX_1) != HAL_OK)
  {
    Error_Handler();
  }

  /** Configure the Injected Channel
  */
  if (HAL_SDADC_AssociateChannelConfig(&hsdadc2, SDADC_CHANNEL_2, SDADC_CONF_INDEX_0) != HAL_OK)
  {
    Error_Handler();
  }

}

static void MX_SDADC3_Init(void)
{

  SDADC_ConfParamTypeDef ConfParamStruct = {0};

  /** Configure the SDADC low power mode, fast conversion mode,
  slow clock mode and SDADC1 reference voltage
  */
  hsdadc3.Instance = SDADC3;
  hsdadc3.Init.IdleLowPowerMode = SDADC_LOWPOWER_NONE;
  hsdadc3.Init.FastConversionMode = SDADC_FAST_CONV_DISABLE;
  hsdadc3.Init.SlowClockMode = SDADC_SLOW_CLOCK_DISABLE;
  hsdadc3.Init.ReferenceVoltage = SDADC_VREF_EXT;
  hsdadc3.InjectedTrigger = SDADC_EXTERNAL_TRIGGER;
  hsdadc3.ExtTriggerEdge = SDADC_EXT_TRIG_RISING_EDGE;
  if (HAL_SDADC_Init(&hsdadc3) != HAL_OK)
  {
    Error_Handler();
  }

  /** Configure the Injected Mode
  */
  if (HAL_SDADC_SelectInjectedDelay(&hsdadc3, SDADC_INJECTED_DELAY_NONE) != HAL_OK)
  {
    Error_Handler();
  }
  if (HAL_SDADC_SelectInjectedExtTrigger(&hsdadc3, SDADC_EXT_TRIG_TIM12_CC2, SDADC_EXT_TRIG_RISING_EDGE) != HAL_OK)
  {
    Error_Handler();
  }
  if (HAL_SDADC_SelectInjectedTrigger(&hsdadc3, SDADC_EXTERNAL_TRIGGER) != HAL_OK)
  {
    Error_Handler();
  }
  if (HAL_SDADC_InjectedConfigChannel(&hsdadc3, SDADC_CHANNEL_0|SDADC_CHANNEL_2
                              |SDADC_CHANNEL_4|SDADC_CHANNEL_6
                              |SDADC_CHANNEL_8, SDADC_CONTINUOUS_CONV_ON) != HAL_OK)
  {
    Error_Handler();
  }

  /** Set parameters for SDADC configuration 0 Register
  */
  ConfParamStruct.InputMode = SDADC_INPUT_MODE_DIFF;
  ConfParamStruct.Gain = SDADC_GAIN_1;
  ConfParamStruct.CommonMode = SDADC_COMMON_MODE_VSSA;
  ConfParamStruct.Offset = 0;
  if (HAL_SDADC_PrepareChannelConfig(&hsdadc3, SDADC_CONF_INDEX_0, &ConfParamStruct) != HAL_OK)
  {
    Error_Handler();
  }

  /** Set parameters for SDADC configuration 1 Register
  */
  if (HAL_SDADC_PrepareChannelConfig(&hsdadc3, SDADC_CONF_INDEX_1, &ConfParamStruct) != HAL_OK)
  {
    Error_Handler();
  }

  /** Set parameters for SDADC configuration 2 Register
  */
  if (HAL_SDADC_PrepareChannelConfig(&hsdadc3, SDADC_CONF_INDEX_2, &ConfParamStruct) != HAL_OK)
  {
    Error_Handler();
  }

  /** Configure the Injected Channel
  */
  if (HAL_SDADC_AssociateChannelConfig(&hsdadc3, SDADC_CHANNEL_0, SDADC_CONF_INDEX_2) != HAL_OK)
  {
    Error_Handler();
  }

  /** Configure the Injected Channel
  */
  if (HAL_SDADC_AssociateChannelConfig(&hsdadc3, SDADC_CHANNEL_2, SDADC_CONF_INDEX_1) != HAL_OK)
  {
    Error_Handler();
  }

  /** Configure the Injected Channel
  */
  if (HAL_SDADC_AssociateChannelConfig(&hsdadc3, SDADC_CHANNEL_4, SDADC_CONF_INDEX_1) != HAL_OK)
  {
    Error_Handler();
  }

  /** Configure the Injected Channel
  */
  if (HAL_SDADC_AssociateChannelConfig(&hsdadc3, SDADC_CHANNEL_6, SDADC_CONF_INDEX_0) != HAL_OK)
  {
    Error_Handler();
  }

  /** Configure the Injected Channel
  */
  if (HAL_SDADC_AssociateChannelConfig(&hsdadc3, SDADC_CHANNEL_8, SDADC_CONF_INDEX_0) != HAL_OK)
  {
    Error_Handler();
  }

}

static void MX_TIM2_Init(void)
{

  TIM_ClockConfigTypeDef sClockSourceConfig = {0};
  TIM_MasterConfigTypeDef sMasterConfig = {0};
  TIM_OC_InitTypeDef sConfigOC = {0};

  htim2.Instance = TIM2;
  htim2.Init.Prescaler = 0;
  htim2.Init.CounterMode = TIM_COUNTERMODE_UP;
  htim2.Init.Period = 0xffff;
  htim2.Init.ClockDivision = TIM_CLOCKDIVISION_DIV1;
  htim2.Init.AutoReloadPreload = TIM_AUTORELOAD_PRELOAD_DISABLE;
  if (HAL_TIM_Base_Init(&htim2) != HAL_OK)
  {
    Error_Handler();
  }
  sClockSourceConfig.ClockSource = TIM_CLOCKSOURCE_INTERNAL;
  if (HAL_TIM_ConfigClockSource(&htim2, &sClockSourceConfig) != HAL_OK)
  {
    Error_Handler();
  }
  if (HAL_TIM_PWM_Init(&htim2) != HAL_OK)
  {
    Error_Handler();
  }
  sMasterConfig.MasterOutputTrigger = TIM_TRGO_RESET;
  sMasterConfig.MasterSlaveMode = TIM_MASTERSLAVEMODE_DISABLE;
  if (HAL_TIMEx_MasterConfigSynchronization(&htim2, &sMasterConfig) != HAL_OK)
  {
    Error_Handler();
  }
  sConfigOC.OCMode = TIM_OCMODE_PWM1;
  sConfigOC.Pulse = 0;
  sConfigOC.OCPolarity = TIM_OCPOLARITY_HIGH;
  sConfigOC.OCFastMode = TIM_OCFAST_DISABLE;
  if (HAL_TIM_PWM_ConfigChannel(&htim2, &sConfigOC, TIM_CHANNEL_1) != HAL_OK)
  {
    Error_Handler();
  }
  if (HAL_TIM_PWM_ConfigChannel(&htim2, &sConfigOC, TIM_CHANNEL_2) != HAL_OK)
  {
    Error_Handler();
  }
  if (HAL_TIM_PWM_ConfigChannel(&htim2, &sConfigOC, TIM_CHANNEL_3) != HAL_OK)
  {
    Error_Handler();
  }
  if (HAL_TIM_PWM_ConfigChannel(&htim2, &sConfigOC, TIM_CHANNEL_4) != HAL_OK)
  {
    Error_Handler();
  }
  HAL_TIM_MspPostInit(&htim2);

}

static void MX_TIM4_Init(void)
{

  TIM_Encoder_InitTypeDef sConfig = {0};
  TIM_MasterConfigTypeDef sMasterConfig = {0};

  htim4.Instance = TIM4;
  htim4.Init.Prescaler = 0;
  htim4.Init.CounterMode = TIM_COUNTERMODE_UP;
  htim4.Init.Period = 65535;
  htim4.Init.ClockDivision = TIM_CLOCKDIVISION_DIV1;
  htim4.Init.AutoReloadPreload = TIM_AUTORELOAD_PRELOAD_DISABLE;
  sConfig.EncoderMode = TIM_ENCODERMODE_TI12;
  sConfig.IC1Polarity = TIM_ICPOLARITY_RISING;
  sConfig.IC1Selection = TIM_ICSELECTION_DIRECTTI;
  sConfig.IC1Prescaler = TIM_ICPSC_DIV1;
  sConfig.IC1Filter = 0;
  sConfig.IC2Polarity = TIM_ICPOLARITY_RISING;
  sConfig.IC2Selection = TIM_ICSELECTION_DIRECTTI;
  sConfig.IC2Prescaler = TIM_ICPSC_DIV1;
  sConfig.IC2Filter = 0;
  if (HAL_TIM_Encoder_Init(&htim4, &sConfig) != HAL_OK)
  {
    Error_Handler();
  }
  sMasterConfig.MasterOutputTrigger = TIM_TRGO_RESET;
  sMasterConfig.MasterSlaveMode = TIM_MASTERSLAVEMODE_DISABLE;
  if (HAL_TIMEx_MasterConfigSynchronization(&htim4, &sMasterConfig) != HAL_OK)
  {
    Error_Handler();
  }

}

static void MX_TIM5_Init(void)
{

  TIM_ClockConfigTypeDef sClockSourceConfig = {0};
  TIM_MasterConfigTypeDef sMasterConfig = {0};
  TIM_OC_InitTypeDef sConfigOC = {0};

  htim5.Instance = TIM5;
  htim5.Init.Prescaler = 0;
  htim5.Init.CounterMode = TIM_COUNTERMODE_UP;
  htim5.Init.Period = 0xffff;
  htim5.Init.ClockDivision = TIM_CLOCKDIVISION_DIV1;
  htim5.Init.AutoReloadPreload = TIM_AUTORELOAD_PRELOAD_DISABLE;
  if (HAL_TIM_Base_Init(&htim5) != HAL_OK)
  {
    Error_Handler();
  }
  sClockSourceConfig.ClockSource = TIM_CLOCKSOURCE_INTERNAL;
  if (HAL_TIM_ConfigClockSource(&htim5, &sClockSourceConfig) != HAL_OK)
  {
    Error_Handler();
  }
  if (HAL_TIM_PWM_Init(&htim5) != HAL_OK)
  {
    Error_Handler();
  }
  sMasterConfig.MasterOutputTrigger = TIM_TRGO_RESET;
  sMasterConfig.MasterSlaveMode = TIM_MASTERSLAVEMODE_DISABLE;
  if (HAL_TIMEx_MasterConfigSynchronization(&htim5, &sMasterConfig) != HAL_OK)
  {
    Error_Handler();
  }
  sConfigOC.OCMode = TIM_OCMODE_PWM1;
  sConfigOC.Pulse = 0;
  sConfigOC.OCPolarity = TIM_OCPOLARITY_HIGH;
  sConfigOC.OCFastMode = TIM_OCFAST_DISABLE;
  if (HAL_TIM_PWM_ConfigChannel(&htim5, &sConfigOC, TIM_CHANNEL_1) != HAL_OK)
  {
    Error_Handler();
  }
  if (HAL_TIM_PWM_ConfigChannel(&htim5, &sConfigOC, TIM_CHANNEL_2) != HAL_OK)
  {
    Error_Handler();
  }
  if (HAL_TIM_PWM_ConfigChannel(&htim5, &sConfigOC, TIM_CHANNEL_3) != HAL_OK)
  {
    Error_Handler();
  }
  if (HAL_TIM_PWM_ConfigChannel(&htim5, &sConfigOC, TIM_CHANNEL_4) != HAL_OK)
  {
    Error_Handler();
  }
  HAL_TIM_MspPostInit(&htim5);

}

static void MX_TIM6_Init(void)
{

  TIM_MasterConfigTypeDef sMasterConfig = {0};

  htim6.Instance = TIM6;
  htim6.Init.Prescaler = 99;
  htim6.Init.CounterMode = TIM_COUNTERMODE_UP;
  htim6.Init.Period = 0xbb80;
  htim6.Init.AutoReloadPreload = TIM_AUTORELOAD_PRELOAD_DISABLE;
  if (HAL_TIM_Base_Init(&htim6) != HAL_OK)
  {
    Error_Handler();
  }
  sMasterConfig.MasterOutputTrigger = TIM_TRGO_UPDATE;
  sMasterConfig.MasterSlaveMode = TIM_MASTERSLAVEMODE_DISABLE;
  if (HAL_TIMEx_MasterConfigSynchronization(&htim6, &sMasterConfig) != HAL_OK)
  {
    Error_Handler();
  }

}

static void MX_TIM12_Init(void)
{

  TIM_ClockConfigTypeDef sClockSourceConfig = {0};
  TIM_OC_InitTypeDef sConfigOC = {0};

  htim12.Instance = TIM12;
  htim12.Init.Prescaler = 99;
  htim12.Init.CounterMode = TIM_COUNTERMODE_UP;
  htim12.Init.Period = 0xbb80;
  htim12.Init.ClockDivision = TIM_CLOCKDIVISION_DIV1;
  htim12.Init.AutoReloadPreload = TIM_AUTORELOAD_PRELOAD_DISABLE;
  if (HAL_TIM_Base_Init(&htim12) != HAL_OK)
  {
    Error_Handler();
  }
  sClockSourceConfig.ClockSource = TIM_CLOCKSOURCE_INTERNAL;
  if (HAL_TIM_ConfigClockSource(&htim12, &sClockSourceConfig) != HAL_OK)
  {
    Error_Handler();
  }
  if (HAL_TIM_OC_Init(&htim12) != HAL_OK)
  {
    Error_Handler();
  }
  sConfigOC.OCMode = TIM_OCMODE_TOGGLE;
  sConfigOC.Pulse = 0;
  sConfigOC.OCPolarity = TIM_OCPOLARITY_HIGH;
  sConfigOC.OCFastMode = TIM_OCFAST_DISABLE;
  if (HAL_TIM_OC_ConfigChannel(&htim12, &sConfigOC, TIM_CHANNEL_1) != HAL_OK)
  {
    Error_Handler();
  }
  if (HAL_TIM_OC_ConfigChannel(&htim12, &sConfigOC, TIM_CHANNEL_2) != HAL_OK)
  {
    Error_Handler();
  }

}

static void MX_TIM13_Init(void)
{

  TIM_OC_InitTypeDef sConfigOC = {0};

  htim13.Instance = TIM13;
  htim13.Init.Prescaler = 99;
  htim13.Init.CounterMode = TIM_COUNTERMODE_UP;
  htim13.Init.Period = 0xbb80;
  htim13.Init.ClockDivision = TIM_CLOCKDIVISION_DIV1;
  htim13.Init.AutoReloadPreload = TIM_AUTORELOAD_PRELOAD_DISABLE;
  if (HAL_TIM_Base_Init(&htim13) != HAL_OK)
  {
    Error_Handler();
  }
  if (HAL_TIM_OC_Init(&htim13) != HAL_OK)
  {
    Error_Handler();
  }
  sConfigOC.OCMode = TIM_OCMODE_TOGGLE;
  sConfigOC.Pulse = 0;
  sConfigOC.OCPolarity = TIM_OCPOLARITY_HIGH;
  sConfigOC.OCFastMode = TIM_OCFAST_DISABLE;
  if (HAL_TIM_OC_ConfigChannel(&htim13, &sConfigOC, TIM_CHANNEL_1) != HAL_OK)
  {
    Error_Handler();
  }

}

static void MX_TIM16_Init(void)
{

  TIM_IC_InitTypeDef sConfigIC = {0};

  htim16.Instance = TIM16;
  htim16.Init.Prescaler = 4799;
  htim16.Init.CounterMode = TIM_COUNTERMODE_UP;
  htim16.Init.Period = 0xffff;
  htim16.Init.ClockDivision = TIM_CLOCKDIVISION_DIV1;
  htim16.Init.RepetitionCounter = 0;
  htim16.Init.AutoReloadPreload = TIM_AUTORELOAD_PRELOAD_DISABLE;
  if (HAL_TIM_Base_Init(&htim16) != HAL_OK)
  {
    Error_Handler();
  }
  if (HAL_TIM_IC_Init(&htim16) != HAL_OK)
  {
    Error_Handler();
  }
  sConfigIC.ICPolarity = TIM_INPUTCHANNELPOLARITY_RISING;
  sConfigIC.ICSelection = TIM_ICSELECTION_DIRECTTI;
  sConfigIC.ICPrescaler = TIM_ICPSC_DIV1;
  sConfigIC.ICFilter = 0;
  if (HAL_TIM_IC_ConfigChannel(&htim16, &sConfigIC, TIM_CHANNEL_1) != HAL_OK)
  {
    Error_Handler();
  }

}

static void MX_TIM17_Init(void)
{

  TIM_IC_InitTypeDef sConfigIC = {0};

  htim17.Instance = TIM17;
  htim17.Init.Prescaler = 4799;
  htim17.Init.CounterMode = TIM_COUNTERMODE_UP;
  htim17.Init.Period = 0xffff;
  htim17.Init.ClockDivision = TIM_CLOCKDIVISION_DIV1;
  htim17.Init.RepetitionCounter = 0;
  htim17.Init.AutoReloadPreload = TIM_AUTORELOAD_PRELOAD_DISABLE;
  if (HAL_TIM_Base_Init(&htim17) != HAL_OK)
  {
    Error_Handler();
  }
  if (HAL_TIM_IC_Init(&htim17) != HAL_OK)
  {
    Error_Handler();
  }
  sConfigIC.ICPolarity = TIM_INPUTCHANNELPOLARITY_RISING;
  sConfigIC.ICSelection = TIM_ICSELECTION_DIRECTTI;
  sConfigIC.ICPrescaler = TIM_ICPSC_DIV1;
  sConfigIC.ICFilter = 0;
  if (HAL_TIM_IC_ConfigChannel(&htim17, &sConfigIC, TIM_CHANNEL_1) != HAL_OK)
  {
    Error_Handler();
  }

}

static void MX_TIM19_Init(void)
{

  TIM_Encoder_InitTypeDef sConfig = {0};
  TIM_MasterConfigTypeDef sMasterConfig = {0};

  htim19.Instance = TIM19;
  htim19.Init.Prescaler = 0;
  htim19.Init.CounterMode = TIM_COUNTERMODE_UP;
  htim19.Init.Period = 65535;
  htim19.Init.ClockDivision = TIM_CLOCKDIVISION_DIV1;
  htim19.Init.AutoReloadPreload = TIM_AUTORELOAD_PRELOAD_DISABLE;
  sConfig.EncoderMode = TIM_ENCODERMODE_TI12;
  sConfig.IC1Polarity = TIM_ICPOLARITY_RISING;
  sConfig.IC1Selection = TIM_ICSELECTION_DIRECTTI;
  sConfig.IC1Prescaler = TIM_ICPSC_DIV1;
  sConfig.IC1Filter = 0;
  sConfig.IC2Polarity = TIM_ICPOLARITY_RISING;
  sConfig.IC2Selection = TIM_ICSELECTION_DIRECTTI;
  sConfig.IC2Prescaler = TIM_ICPSC_DIV1;
  sConfig.IC2Filter = 0;
  if (HAL_TIM_Encoder_Init(&htim19, &sConfig) != HAL_OK)
  {
    Error_Handler();
  }
  sMasterConfig.MasterOutputTrigger = TIM_TRGO_RESET;
  sMasterConfig.MasterSlaveMode = TIM_MASTERSLAVEMODE_DISABLE;
  if (HAL_TIMEx_MasterConfigSynchronization(&htim19, &sMasterConfig) != HAL_OK)
  {
    Error_Handler();
  }

}

static void MX_DMA_Init(void)
{

  /* DMA controller clock enable */
  __HAL_RCC_DMA1_CLK_ENABLE();
  __HAL_RCC_DMA2_CLK_ENABLE();

  /* DMA interrupt init */
  /* DMA1_Channel1_IRQn interrupt configuration */
  HAL_NVIC_SetPriority(DMA1_Channel1_IRQn, 0, 0);
  HAL_NVIC_EnableIRQ(DMA1_Channel1_IRQn);
  /* DMA1_Channel3_IRQn interrupt configuration */
  HAL_NVIC_SetPriority(DMA1_Channel3_IRQn, 0, 0);
  HAL_NVIC_EnableIRQ(DMA1_Channel3_IRQn);
  /* DMA2_Channel3_IRQn interrupt configuration */
  HAL_NVIC_SetPriority(DMA2_Channel3_IRQn, 0, 0);
  HAL_NVIC_EnableIRQ(DMA2_Channel3_IRQn);
  /* DMA2_Channel4_IRQn interrupt configuration */
  HAL_NVIC_SetPriority(DMA2_Channel4_IRQn, 0, 0);
  HAL_NVIC_EnableIRQ(DMA2_Channel4_IRQn);
  /* DMA2_Channel5_IRQn interrupt configuration */
  HAL_NVIC_SetPriority(DMA2_Channel5_IRQn, 0, 0);
  HAL_NVIC_EnableIRQ(DMA2_Channel5_IRQn);

}

static void MX_GPIO_Init(void)
{
  GPIO_InitTypeDef GPIO_InitStruct = {0};

  /* GPIO Ports Clock Enable */
  __HAL_RCC_GPIOE_CLK_ENABLE();
  __HAL_RCC_GPIOC_CLK_ENABLE();
  __HAL_RCC_GPIOF_CLK_ENABLE();
  __HAL_RCC_GPIOA_CLK_ENABLE();
  __HAL_RCC_GPIOB_CLK_ENABLE();
  __HAL_RCC_GPIOD_CLK_ENABLE();

  /*Configure GPIO pin Output Level */
  HAL_GPIO_WritePin(GPIOD, LED0_Pin|LED1_Pin|LED2_Pin, GPIO_PIN_RESET);

  /*Configure GPIO pin Output Level */
  HAL_GPIO_WritePin(GPIOB, LED3_Pin|LED4_Pin, GPIO_PIN_RESET);

  /*Configure GPIO pins : DI0_Pin DI1_Pin DI2_Pin DI3_Pin
                           DI4_Pin */
  GPIO_InitStruct.Pin = DI0_Pin|DI1_Pin|DI2_Pin|DI3_Pin
                          |DI4_Pin;
  GPIO_InitStruct.Mode = GPIO_MODE_INPUT;
  GPIO_InitStruct.Pull = GPIO_PULLDOWN;
  HAL_GPIO_Init(GPIOE, &GPIO_InitStruct);

  /*Configure GPIO pins : DI5_Pin DI8_Pin */
  GPIO_InitStruct.Pin = DI5_Pin|DI8_Pin;
  GPIO_InitStruct.Mode = GPIO_MODE_INPUT;
  GPIO_InitStruct.Pull = GPIO_PULLDOWN;
  HAL_GPIO_Init(GPIOC, &GPIO_InitStruct);

  /*Configure GPIO pins : DI6_Pin DI7_Pin */
  GPIO_InitStruct.Pin = DI6_Pin|DI7_Pin;
  GPIO_InitStruct.Mode = GPIO_MODE_INPUT;
  GPIO_InitStruct.Pull = GPIO_PULLDOWN;
  HAL_GPIO_Init(GPIOF, &GPIO_InitStruct);

  /*Configure GPIO pins : LED0_Pin LED1_Pin LED2_Pin */
  GPIO_InitStruct.Pin = LED0_Pin|LED1_Pin|LED2_Pin;
  GPIO_InitStruct.Mode = GPIO_MODE_OUTPUT_PP;
  GPIO_InitStruct.Pull = GPIO_NOPULL;
  GPIO_InitStruct.Speed = GPIO_SPEED_FREQ_LOW;
  HAL_GPIO_Init(GPIOD, &GPIO_InitStruct);

  /*Configure GPIO pins : LED3_Pin LED4_Pin */
  GPIO_InitStruct.Pin = LED3_Pin|LED4_Pin;
  GPIO_InitStruct.Mode = GPIO_MODE_OUTPUT_PP;
  GPIO_InitStruct.Pull = GPIO_NOPULL;
  GPIO_InitStruct.Speed = GPIO_SPEED_FREQ_LOW;
  HAL_GPIO_Init(GPIOB, &GPIO_InitStruct);

}

void HAL_TIM_PeriodElapsedCallback(TIM_HandleTypeDef *htim)
{
  if (htim->Instance == TIM7) {
    HAL_IncTick();
  }
}

void Error_Handler(void)
{
  /* USER CODE BEGIN Error_Handler_Debug */

  /* User can add his own implementation to report the HAL error return state */
  __disable_irq();
  while (1)
  {
	  HAL_Delay(1000);
	  STM32_PLC_LED(0x1F);
	  HAL_Delay(1000);
	  STM32_PLC_LED(0x0);
  }
  /* USER CODE END Error_Handler_Debug */
}
